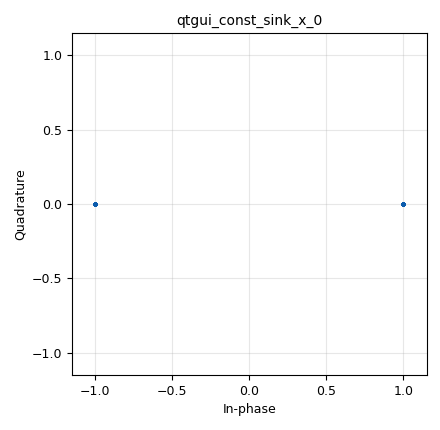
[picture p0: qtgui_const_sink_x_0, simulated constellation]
options:
  parameters:
    author: B. Kerler
    generate_options: qt_gui
    id: top
    output_language: python
    title: BPSK Simulation
  states: {}

blocks:
- name: samp_rate
  id: variable
  parameters:
    value: '32000'
  states: {}
- name: analog_const_source_x_0
  id: analog_const_source_x
  parameters:
    comment: '[Q]'
    const: '0'
    type: float
  states: {}
- name: analog_random_uniform_source_x_0
  id: analog_random_uniform_source_x
  parameters:
    maximum: '2'
    minimum: '0'
    seed: '0'
    type: byte
  states: {}
- name: blocks_add_const_vxx_0
  id: blocks_add_const_vxx
  parameters:
    comment: |-
      BPSK Encoding
      S0 = 1+0j
      S1 = -1+0j

      Means : 2*bit-1
      [I]
    const: '-1'
    type: float
  states: {}
- name: blocks_complex_to_float_0
  id: blocks_complex_to_float
  parameters: {}
  states: {}
- name: blocks_float_to_complex_0
  id: blocks_float_to_complex
  parameters: {}
  states: {}
- name: blocks_multiply_const_vxx_0
  id: blocks_multiply_const_vxx
  parameters:
    const: '2'
    type: float
  states: {}
- name: blocks_threshold_ff_0
  id: blocks_threshold_ff
  parameters:
    high: '0'
    init: '0'
    low: '0'
  states: {}
- name: blocks_throttle_0
  id: blocks_throttle
  parameters:
    samples_per_second: samp_rate
    type: byte
  states: {}
- name: blocks_uchar_to_float_0
  id: blocks_uchar_to_float
  parameters: {}
  states: {}
- name: qtgui_const_sink_x_0
  id: qtgui_const_sink_x
  parameters:
    autoscale: 'True'
    grid: 'True'
    size: '1024'
    type: complex
  states: {}
- name: qtgui_number_sink_1
  id: qtgui_number_sink
  parameters:
    graph_type: qtgui.NUM_GRAPH_HORIZ
    name: '"Sent"'
    type: float
  states: {}
- name: qtgui_number_sink_1_0
  id: qtgui_number_sink
  parameters:
    graph_type: qtgui.NUM_GRAPH_HORIZ
    name: '"Received"'
    type: float
  states: {}
- name: virtual_sink_0
  id: virtual_sink
  parameters:
    stream_id: data
  states: {}
- name: virtual_sink_1
  id: virtual_sink
  parameters:
    stream_id: modulated
  states: {}
- name: virtual_source_0
  id: virtual_source
  parameters:
    comment: Modulation
    stream_id: data
  states: {}
- name: virtual_source_1
  id: virtual_source
  parameters:
    comment: Demodulation
    stream_id: modulated
  states: {}

connections:
- [analog_const_source_x_0, '0', blocks_float_to_complex_0, '1']
- [analog_random_uniform_source_x_0, '0', blocks_throttle_0, '0']
- [blocks_add_const_vxx_0, '0', blocks_float_to_complex_0, '0']
- [blocks_complex_to_float_0, '0', blocks_threshold_ff_0, '0']
- [blocks_float_to_complex_0, '0', virtual_sink_1, '0']
- [blocks_multiply_const_vxx_0, '0', blocks_add_const_vxx_0, '0']
- [blocks_threshold_ff_0, '0', qtgui_number_sink_1_0, '0']
- [blocks_throttle_0, '0', blocks_uchar_to_float_0, '0']
- [blocks_uchar_to_float_0, '0', qtgui_number_sink_1, '0']
- [blocks_uchar_to_float_0, '0', virtual_sink_0, '0']
- [virtual_source_0, '0', blocks_multiply_const_vxx_0, '0']
- [virtual_source_1, '0', blocks_complex_to_float_0, '0']
- [virtual_source_1, '0', qtgui_const_sink_x_0, '0']

metadata:
  file_format: 1
  grc_version: v3.11.0.0git-215-g9a698313
